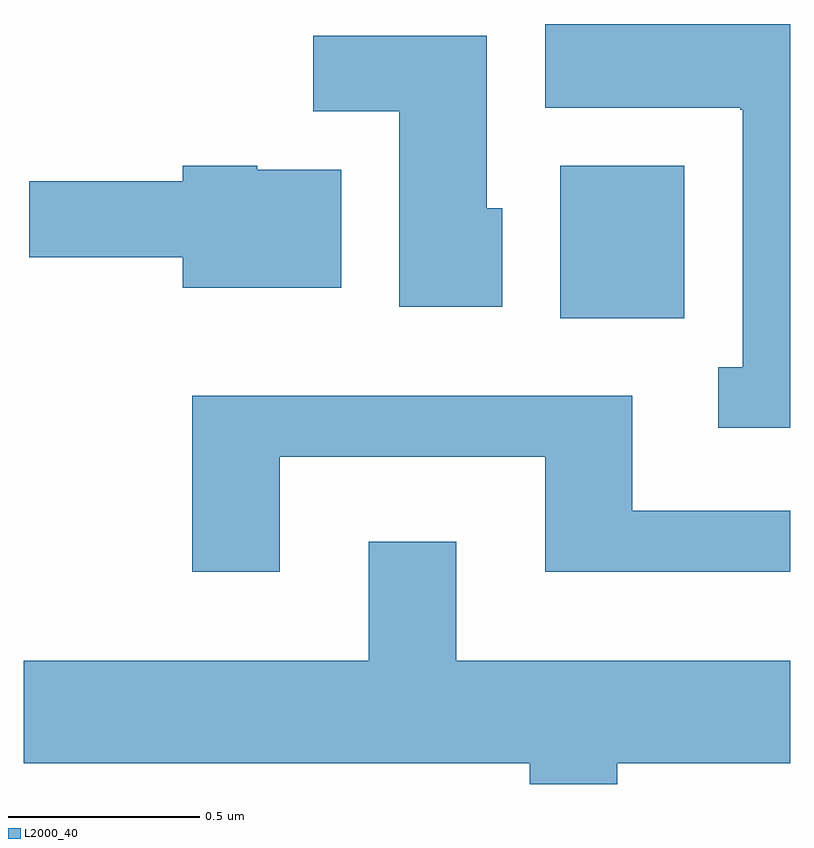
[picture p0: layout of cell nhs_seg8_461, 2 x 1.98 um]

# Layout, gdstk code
import gdstk
lib = gdstk.Library(unit=1e-6, precision=1e-09)
def R(c, l, rs):  # rectangles x0, y0, x1, y1
    for r in rs: c.add(gdstk.rectangle(r[:2], r[2:], *l))
def P(c, l, *ps):  # polygons
    for p in ps: c.add(gdstk.Polygon(p, *l))
L2000_40 = (2000, 40)

nhs_seg8_461 = lib.new_cell('nhs_seg8_461')
R(nhs_seg8_461, L2000_40, [(190.011,1857.556,190.334,1857.954)])
P(nhs_seg8_461, L2000_40, [(190.611,1858.324),(189.971,1858.324),(189.971,1858.106),(190.48,1858.106),(190.48,1858.1),(190.486,1858.1),(190.486,1857.429),(190.423,1857.429),(190.423,1857.271),(190.611,1857.271)],
  [(189.859,1857.844),(189.819,1857.844),(189.819,1858.294),(189.366,1858.294),(189.366,1858.096),(189.591,1858.096),(189.591,1857.586),(189.859,1857.586)],
  [(189.439,1857.944),(189.22,1857.944),(189.22,1857.954),(189.026,1857.954),(189.026,1857.914),(188.626,1857.914),(188.626,1857.716),(189.026,1857.716),(189.026,1857.636),(189.439,1857.636)],
  [(189.279,1857.196),(189.971,1857.196),(189.971,1856.896),(190.611,1856.896),(190.611,1857.054),(190.199,1857.054),(190.199,1857.354),(189.051,1857.354),(189.051,1856.896),(189.279,1856.896)],
  [(190.159,1856.396),(190.611,1856.396),(190.611,1856.664),(189.739,1856.664),(189.739,1856.974),(189.511,1856.974),(189.511,1856.664),(188.611,1856.664),(188.611,1856.396),(189.931,1856.396),(189.931,1856.342),(190.159,1856.342)])

lib.write_gds('nhs_seg8_461.gds')
